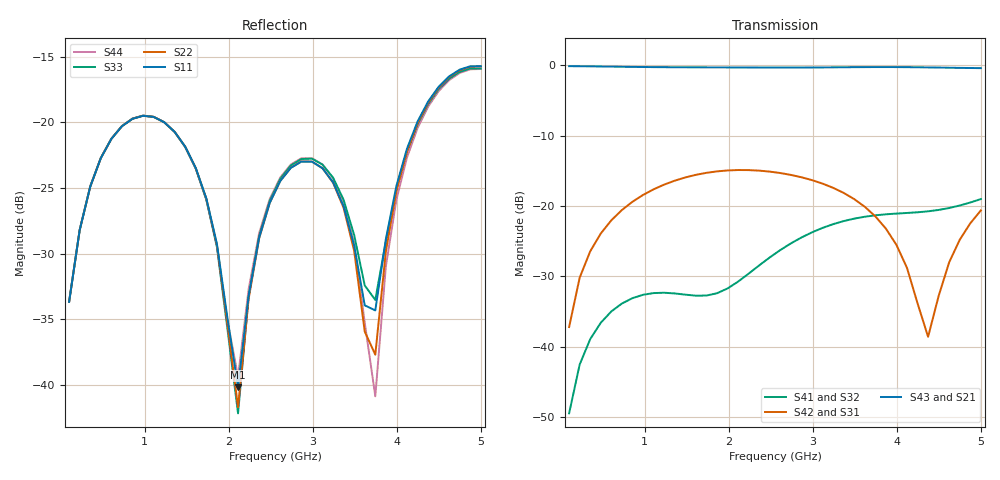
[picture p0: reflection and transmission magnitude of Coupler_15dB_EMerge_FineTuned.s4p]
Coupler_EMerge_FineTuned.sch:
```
<Qucs Schematic 25.2.0>
<Properties>
  <View=-13,93,702,484,2.19231,0,0>
  <Grid=10,10,1>
  <DataSet=Coupler_EMerge_FineTuned.dat>
  <DataDisplay=Coupler_EMerge_FineTuned.dpl>
  <OpenDisplay=0>
  <Script=Coupler_EMerge.m>
  <RunScript=0>
  <showFrame=0>
  <FrameText0=Title>
  <FrameText1=Drawn By:>
  <FrameText2=Date:>
  <FrameText3=Revision:>
</Properties>
<Symbol>
  <.ID -40 74 SUB>
  <.PortSym -100 -50 1 0 P1>
  <.PortSym 90 -50 2 180 P2>
  <.PortSym -100 60 3 0 P3>
  <.PortSym 90 60 4 180 P4>
  <Rectangle -80 -60 70 20 #000000 1 1 #ffaa00 1 1>
  <Rectangle -80 50 70 20 #000000 1 1 #ffaa00 1 1>
  <Rectangle -30 -60 20 130 #000000 1 1 #ffaa00 1 1>
  <Rectangle 0 -60 70 20 #000000 1 1 #ffaa00 1 1>
  <Rectangle 0 50 70 20 #000000 1 1 #ffaa00 1 1>
  <Rectangle 0 -60 20 130 #000000 1 1 #ffaa00 1 1>
  <Line -100 -50 20 0 #000000 1 1>
  <Line -100 60 20 0 #000000 1 1>
  <Line 70 -50 20 0 #000000 1 1>
  <Line 70 60 20 0 #000000 1 1>
  <Text -30 -90 11 #000000 0 "EMerge">
</Symbol>
<Components>
  <GND * 1 430 280 0 0 1 2>
  <Port P1 1 190 180 -23 12 0 0 "1" 1 "analog" 0>
  <Port P2 1 480 180 4 -46 0 2 "2" 1 "analog" 0>
  <Port P3 1 250 390 -23 10 0 0 "3" 1 "analog" 0>
  <Port P4 1 520 390 4 -46 0 2 "4" 1 "analog" 0>
  <SPfile X1 1 370 280 -260 -26 1 3 "Coupler_15dB_EMerge_FineTuned.s4p" 1 "rectangular" 0 "linear" 0 "open" 0 "4" 0>
</Components>
<Wires>
  <400 310 400 390 "" 0 0 0 "">
  <400 180 400 250 "" 0 0 0 "">
  <340 180 340 250 "" 0 0 0 "">
  <340 310 340 390 "" 0 0 0 "">
  <190 180 340 180 "" 0 0 0 "">
  <400 390 520 390 "" 0 0 0 "">
  <400 180 480 180 "" 0 0 0 "">
  <250 390 340 390 "" 0 0 0 "">
</Wires>
<Diagrams>
</Diagrams>
<Paintings>
</Paintings>
```
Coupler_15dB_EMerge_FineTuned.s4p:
! Generated by EMerge - 4-port S-parameters
! File generated: 2026-02-18 06:08
! --- Coupler_15dB ---
! Substrate: RO4003C
! h = 0.508 mm
! Design parameters:
! W0 = 1.08 mm
! L_coupled = 22.75 mm
! W_coupled = 1.0 mm
! S_coupled = 0.36 mm
! L_feed = 10.0 mm
! L_trans = 1.0 mm
! Air box height = 10 mm
! Run time = 0.91 min
# GHZ S RI R 50
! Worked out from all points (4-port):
!   40 points, 100 MHz to 5 GHz, reference 50 ohm
!   strongest paths, dB at 100 MHz, 1.356 GHz, 2.613 GHz, 3.869 GHz, 5 GHz:
!     S43: -0.1, -0.3, -0.3, -0.3, -0.4
!     S21: -0.1, -0.3, -0.3, -0.3, -0.4
!     S42: -37.2, -16.4, -15.3, -23.2, -20.6
!     S31: -37.2, -16.4, -15.3, -23.3, -20.6
!     S41: -49.5, -32.4, -26.3, -21.2, -19.0
!     S32: -49.5, -32.5, -26.3, -21.2, -19.0
!   lowest |S11| = -40.2 dB at 2.11 GHz (marker M1), VSWR 1.02, Z = 51 + j0.131 ohm
!   |S11| at or under -10 dB: start of sweep to end of sweep
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0.1  0.0148 0.0145  0.9738 -0.153  0.0022 0.0136  -0.000736 -0.00328
     0.9738 -0.153  0.0148 0.0145  -0.000738 -0.00328  0.00221 0.0136
     0.0022 0.0136  -0.000738 -0.00328  0.0148 0.0146  0.9738 -0.153
     -0.000737 -0.00328  0.00221 0.0136  0.9738 -0.153  0.0148 0.0146
2.110256  0.00974 0.00128  -0.9594 0.1058  -0.0188 -0.1791  0.00177 0.0289
          -0.9594 0.1058  0.0081 0.0015  0.00169 0.0284  -0.02 -0.179
          -0.0189 -0.1791  0.00169 0.0285  0.00744 0.00236  -0.9593 0.1062
          0.00177 0.0289  -0.0199 -0.179  -0.9594 0.1061  0.0106 0.00195
5  0.1632 0.009  0.1066 -0.9479  -0.0899 -0.0263  -0.1089 -0.0255
   0.1066 -0.9478  0.1626 0.0127  -0.1092 -0.0259  -0.0889 -0.0277
   -0.0898 -0.0263  -0.1093 -0.0259  0.1601 0.0051  0.1059 -0.9484
   -0.109 -0.0255  -0.0888 -0.0277  0.1061 -0.9485  0.1587 0.0155
